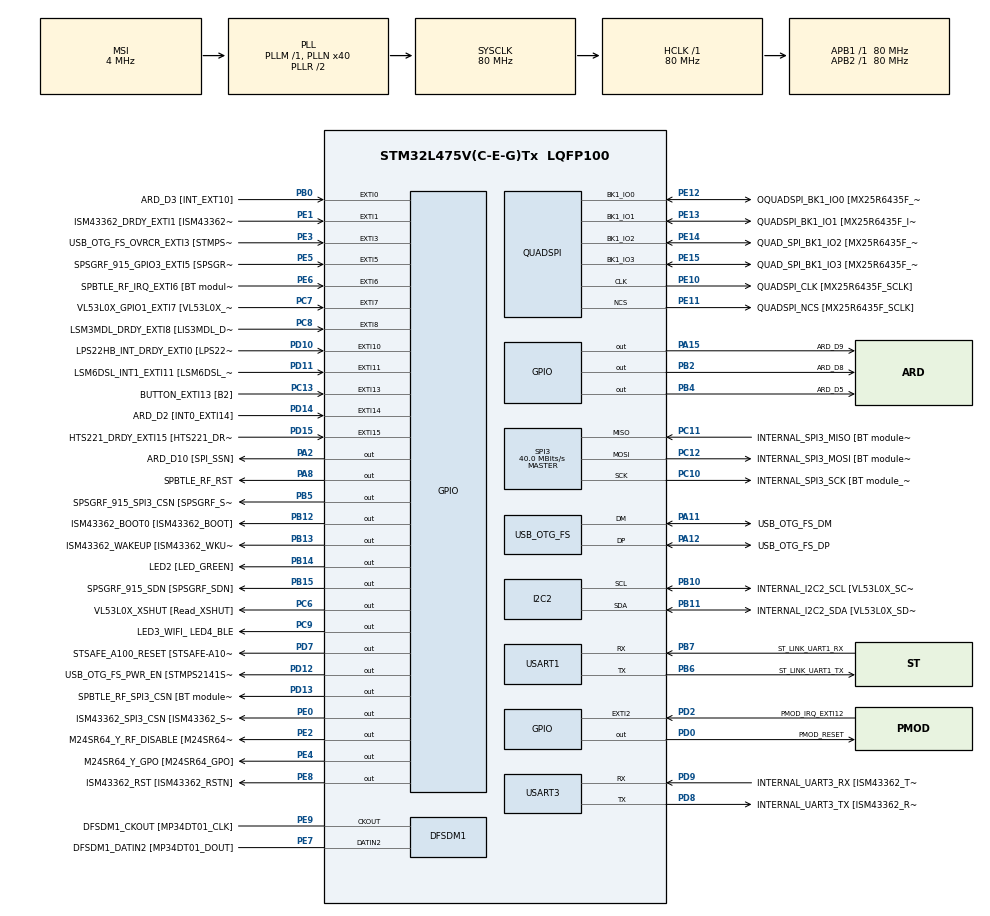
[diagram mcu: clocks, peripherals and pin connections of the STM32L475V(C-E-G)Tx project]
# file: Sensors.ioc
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FREERTOS.BinarySemaphores01=binSem01,Dynamic,NULL
FREERTOS.INCLUDE_vTaskDelayUntil=1
FREERTOS.Tasks01=temperatureTask,0,128,StartTempTask,Default,NULL,Dynamic,NULL,NULL;pressureTask,0,128,StartPressureTask,Default,NULL,Dynamic,NULL,NULL;eventTask,1,128,StartButtonTask,Default,NULL,Dynamic,NULL,NULL
FREERTOS.configUSE_NEWLIB_REENTRANT=1
I2C2.Timing=0x10909CEC
Mcu.Family=STM32L4
Mcu.Name=STM32L475V(C-E-G)Tx
Mcu.Package=LQFP100
NVIC.EXTI15_10_IRQn=true\:5\:0\:false\:false\:true\:true\:true\:true\:true
NVIC.EXTI9_5_IRQn=true\:5\:0\:false\:false\:true\:true\:true\:true\:true
NVIC.PriorityGroup=NVIC_PRIORITYGROUP_4
NVIC.TIM1_UP_TIM16_IRQn=true\:15\:0\:false\:false\:true\:false\:false\:true\:true
NVIC.TimeBase=TIM1_UP_TIM16_IRQn
NVIC.TimeBaseIP=TIM1
PA0.GPIO_Label=ARD_D1 [UART4_TX]
PA0.Signal=UART4_TX
PA1.GPIO_Label=ARD_D0 [UART4_RX]
PA1.Signal=UART4_RX
PA10.GPIO_Label=USB_OTG_FS_ID
PA10.Signal=USB_OTG_FS_ID
PA11.GPIO_Label=USB_OTG_FS_DM
PA11.Mode=Device_Only
PA11.Signal=USB_OTG_FS_DM
PA12.GPIO_Label=USB_OTG_FS_DP
PA12.Mode=Device_Only
PA12.Signal=USB_OTG_FS_DP
PA13\ (JTMS-SWDIO).GPIO_Label=SYS_JTMS_SWDIO
PA13\ (JTMS-SWDIO).Mode=Serial_Wire
PA13\ (JTMS-SWDIO).Signal=SYS_JTMS-SWDIO
PA14\ (JTCK-SWCLK).GPIO_Label=SYS_JTCK_SWCLK
PA14\ (JTCK-SWCLK).Mode=Serial_Wire
PA14\ (JTCK-SWCLK).Signal=SYS_JTCK-SWCLK
PA15\ (JTDI).GPIO_Label=ARD_D9
PA15\ (JTDI).Signal=GPIO_Output
PA2.GPIO_Label=ARD_D10 [SPI_SSN]
PA2.Signal=GPIO_Output
PA3.GPIO_Label=ARD_D4
PA3.Signal=S_TIM2_CH4
PA4.GPIO_Label=ARD_D7
PA4.Signal=ADCx_IN9
PA5.GPIO_Label=ARD_D13 [SPI1_SCK]
PA5.Signal=SPI1_SCK
PA6.GPIO_Label=ARD_D12 [SPI1_MISO]
PA6.Signal=SPI1_MISO
PA7.GPIO_Label=ARD_D11 [SPI1_MOSI]
PA7.Signal=SPI1_MOSI
PA8.GPIO_Label=SPBTLE_RF_RST
PA8.Signal=GPIO_Output
PA9.GPIO_Label=USB_OTG_FS_VBUS [STMPS2141STR_OUT]
PA9.Signal=USB_OTG_FS_VBUS
PB0.GPIO_Label=ARD_D3 [INT_EXT10]
PB0.Signal=GPXTI0
PB1.GPIO_Label=ARD_D6 [ADC1_IN6]
PB1.Signal=ADCx_IN16
PB10.GPIO_Label=INTERNAL_I2C2_SCL [VL53L0X_SCL]
PB10.GPIO_Pu=GPIO_PULLUP
PB10.Mode=I2C
PB10.Signal=I2C2_SCL
PB11.GPIO_Label=INTERNAL_I2C2_SDA [VL53L0X_SDA]
PB11.GPIO_Pu=GPIO_PULLUP
PB11.Mode=I2C
PB11.Signal=I2C2_SDA
PB12.GPIO_Label=ISM43362_BOOT0 [ISM43362_BOOT]
PB12.Signal=GPIO_Output
PB13.GPIO_Label=ISM43362_WAKEUP [ISM43362_WKUP]
PB13.Signal=GPIO_Output
PB14.GPIO_Label=LED2 [LED_GREEN]
PB14.Signal=GPIO_Output
PB15.GPIO_Label=SPSGRF_915_SDN [SPSGRF_SDN]
PB15.Signal=GPIO_Output
PB2.GPIO_Label=ARD_D8
PB2.Signal=GPIO_Output
PB3\ (JTDO-TRACESWO).GPIO_Label=SYS_JTD0_SWO
PB3\ (JTDO-TRACESWO).Signal=SYS_JTDO-SWO
PB4\ (NJTRST).GPIO_Label=ARD_D5
PB4\ (NJTRST).Signal=GPIO_Output
PB5.GPIO_Label=SPSGRF_915_SPI3_CSN [SPSGRF_SPI_CS]
PB5.PinState=GPIO_PIN_SET
PB5.Signal=GPIO_Output
PB6.GPIO_Label=ST_LINK_UART1_TX
PB6.Mode=Asynchronous
PB6.Signal=USART1_TX
PB7.GPIO_Label=ST_LINK_UART1_RX
PB7.Mode=Asynchronous
PB7.Signal=USART1_RX
PB8.GPIO_Label=ARD_D15 [I2C1_SCL]
PB8.Signal=I2C1_SCL
PB9.GPIO_Label=ARD_D14 [I2C1_SDA]
PB9.Signal=I2C1_SDA
PC0.GPIO_Label=ARD_A5 [ADC]
PC0.Signal=ADCx_IN1
PC1.GPIO_Label=ARD_A4 [ADC]
PC1.Signal=ADCx_IN2
PC10.GPIO_Label=INTERNAL_SPI3_SCK [BT module_SPI_SCLK] [ISM43362_SCK]
PC10.Mode=Full_Duplex_Master
PC10.Signal=SPI3_SCK
PC11.GPIO_Label=INTERNAL_SPI3_MISO [BT module_SPI_MISO] [ISM43362_MISO]
PC11.Mode=Full_Duplex_Master
PC11.Signal=SPI3_MISO
PC12.GPIO_Label=INTERNAL_SPI3_MOSI [BT module_SPI_MOSI] [ISM43362_MOSI]
PC12.Mode=Full_Duplex_Master
PC12.Signal=SPI3_MOSI
PC13.GPIO_Label=BUTTON_EXTI13 [B2]
PC13.GPIO_ModeDefaultEXTI=GPIO_MODE_IT_FALLING
PC13.Signal=GPXTI13
PC14-OSC32_IN\ (PC14).Mode=LSE-External-Oscillator
PC14-OSC32_IN\ (PC14).Signal=RCC_OSC32_IN
PC15-OSC32_OUT\ (PC15).Mode=LSE-External-Oscillator
PC15-OSC32_OUT\ (PC15).Signal=RCC_OSC32_OUT
PC2.GPIO_Label=ARD_A3 [ADC]
PC2.Signal=ADCx_IN3
PC3.GPIO_Label=ARD_A2 [ADC]
PC3.Signal=ADCx_IN4
PC4.GPIO_Label=ARD_A1 [ADC]
PC4.Signal=ADCx_IN13
PC5.GPIO_Label=ARD_A0 [ADC]
PC5.Signal=ADCx_IN14
PC6.GPIO_Label=VL53L0X_XSHUT [Read_XSHUT]
PC6.Signal=GPIO_Output
PC7.GPIO_Label=VL53L0X_GPIO1_EXTI7 [VL53L0X_GPIO1]
PC7.Signal=GPXTI7
PC8.GPIO_Label=LSM3MDL_DRDY_EXTI8 [LIS3MDL_DRDY]
PC8.Signal=GPXTI8
PC9.GPIO_Label=LED3_WIFI_ LED4_BLE
PC9.Signal=GPIO_Output
PD0.GPIO_Label=PMOD_RESET
PD0.Signal=GPIO_Output
PD1.GPIO_Label=PMOD_SPI2_SCK
PD1.Signal=SPI2_SCK
PD10.GPIO_Label=LPS22HB_INT_DRDY_EXTI0 [LPS22HB_INT_DRDY] 
PD10.Signal=GPXTI10
PD11.GPIO_Label=LSM6DSL_INT1_EXTI11 [LSM6DSL_INT1]
PD11.Signal=GPXTI11
PD12.GPIO_Label=USB_OTG_FS_PWR_EN [STMPS2141STR_EN]
PD12.Signal=GPIO_Output
PD13.GPIO_Label=SPBTLE_RF_SPI3_CSN [BT module_SPI_CS]
PD13.PinState=GPIO_PIN_SET
PD13.Signal=GPIO_Output
PD14.GPIO_Label=ARD_D2 [INT0_EXTI14]
PD14.Signal=GPXTI14
PD15.GPIO_Label=HTS221_DRDY_EXTI15 [HTS221_DRDY]
PD15.Signal=GPXTI15
PD2.GPIO_Label=PMOD_IRQ_EXTI12
PD2.Signal=GPXTI2
PD3.GPIO_Label=PMOD_UART2_CTS
PD3.Signal=USART2_CTS
PD4.GPIO_Label=PMOD_UART2_RTS
PD4.Signal=USART2_RTS
PD5.GPIO_Label=PMOD_UART2_TX
PD5.Signal=USART2_TX
PD6.GPIO_Label=PMOD_UART2_RX
PD6.Signal=USART2_RX
PD7.GPIO_Label=STSAFE_A100_RESET [STSAFE-A100_RESET]
PD7.Signal=GPIO_Output
PD8.GPIO_Label=INTERNAL_UART3_TX [ISM43362_RX]
PD8.Mode=Asynchronous
PD8.Signal=USART3_TX
PD9.GPIO_Label=INTERNAL_UART3_RX [ISM43362_TX]
PD9.Mode=Asynchronous
PD9.Signal=USART3_RX
PE0.GPIO_Label=ISM43362_SPI3_CSN [ISM43362_SSN]
PE0.PinState=GPIO_PIN_SET
PE0.Signal=GPIO_Output
PE1.GPIO_Label=ISM43362_DRDY_EXTI1 [ISM43362_DATARDY]
PE1.Signal=GPXTI1
PE10.GPIO_Label=QUADSPI_CLK [MX25R6435F_SCLK]
PE10.Mode=Single Bank
PE10.Signal=QUADSPI_CLK
PE11.GPIO_Label=QUADSPI_NCS [MX25R6435F_SCLK]
PE11.Mode=Single Bank
PE11.Signal=QUADSPI_NCS
PE12.GPIO_Label=OQUADSPI_BK1_IO0 [MX25R6435F_IO0]
PE12.Mode=Single Bank
PE12.Signal=QUADSPI_BK1_IO0
PE13.GPIO_Label=QUADSPI_BK1_IO1 [MX25R6435F_IO1]
PE13.Mode=Single Bank
PE13.Signal=QUADSPI_BK1_IO1
PE14.GPIO_Label=QUAD_SPI_BK1_IO2 [MX25R6435F_IO2]
PE14.Mode=Single Bank
PE14.Signal=QUADSPI_BK1_IO2
PE15.GPIO_Label=QUAD_SPI_BK1_IO3 [MX25R6435F_IO3]
PE15.Mode=Single Bank
PE15.Signal=QUADSPI_BK1_IO3
PE2.GPIO_Label=M24SR64_Y_RF_DISABLE [M24SR64_RFDIS]
PE2.Signal=GPIO_Output
PE3.GPIO_Label=USB_OTG_FS_OVRCR_EXTI3 [STMPS2141STR_FAULT]
PE3.Signal=GPXTI3
PE4.GPIO_Label=M24SR64_Y_GPO [M24SR64_GPO]
PE4.Signal=GPIO_Output
PE5.GPIO_Label=SPSGRF_915_GPIO3_EXTI5 [SPSGRF_GPIO_3]
PE5.Signal=GPXTI5
PE6.GPIO_Label=SPBTLE_RF_IRQ_EXTI6 [BT module_SPI_IRQ]
PE6.Signal=GPXTI6
PE7.GPIO_Label=DFSDM1_DATIN2 [MP34DT01_DOUT]
PE7.Signal=S_DATAIN2DFSDM1
PE8.GPIO_Label=ISM43362_RST [ISM43362_RSTN]
PE8.Signal=GPIO_Output
PE9.GPIO_Label=DFSDM1_CKOUT [MP34DT01_CLK]
PE9.Signal=S_CKOUTDFSDM1
ProjectManager.HeapSize=0x200
ProjectManager.StackSize=0x400
ProjectManager.TargetToolchain=STM32CubeIDE
QUADSPI.ClockPrescaler=2
QUADSPI.FifoThreshold=4
QUADSPI.FlashSize=23
QUADSPI.SampleShifting=QSPI_SAMPLE_SHIFTING_HALFCYCLE
RCC.ADCFreq_Value=48000000
RCC.AHBFreq_Value=80000000
RCC.APB1Freq_Value=80000000
RCC.APB1TimFreq_Value=80000000
RCC.APB2Freq_Value=80000000
RCC.APB2TimFreq_Value=80000000
RCC.CortexFreq_Value=80000000
RCC.HCLKFreq_Value=80000000
RCC.HSE_VALUE=8000000
RCC.HSI_VALUE=16000000
RCC.MSI_VALUE=4000000
RCC.PLLN=40
RCC.PLLSAI1N=24
RCC.SYSCLKFreq_VALUE=80000000
RCC.SYSCLKSource=RCC_SYSCLKSOURCE_PLLCLK
RCC.USBFreq_Value=48000000
RCC.VCOOutputFreq_Value=160000000
SH.ADCx_IN1.0=ADC1_IN1
SH.ADCx_IN13.0=ADC1_IN13
SH.ADCx_IN14.0=ADC1_IN14
SH.ADCx_IN16.0=ADC1_IN16
SH.ADCx_IN2.0=ADC1_IN2
SH.ADCx_IN3.0=ADC1_IN3
SH.ADCx_IN4.0=ADC1_IN4
SH.ADCx_IN9.0=ADC1_IN9
SH.S_CKOUTDFSDM1.0=DFSDM1_CKOUT,CKOUT
SH.S_CKOUTDFSDM1.1=DFSDM1_CKOUT,PDM_SPI_Input_from_ch12_and_Internal_Clock
SH.S_DATAIN2DFSDM1.0=DFSDM1_DATIN2,PDM_SPI_Input_from_ch12_and_Internal_Clock
SH.S_TIM2_CH4.0=TIM2_CH4
SPI3.CalculateBaudRate=40.0 MBits/s
SPI3.Direction=SPI_DIRECTION_2LINES
SPI3.Mode=SPI_MODE_MASTER
SPI3.VirtualType=VM_MASTER
USART1.VirtualMode-Asynchronous=VM_ASYNC
USART3.VirtualMode-Asynchronous=VM_ASYNC
USB_OTG_FS.VirtualMode=Device_Only
VP_FREERTOS_VS_CMSIS_V1.Mode=CMSIS_V1
VP_SYS_VS_tim1.Mode=TIM1
board=B-L475E-IOT01A2

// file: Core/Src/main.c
/* USER CODE BEGIN Header */
/**
  ******************************************************************************
  * @file           : main.c
  * @brief          : Main program body
  ******************************************************************************
  * @attention
  *
  * Copyright (c) 2023 STMicroelectronics.
  * All rights reserved.
  *
  * This software is licensed under terms that can be found in the LICENSE file
  * in the root directory of this software component.
  * If no LICENSE file comes with this software, it is provided AS-IS.
  *
  ******************************************************************************
  */
/* USER CODE END Header */
#include "main.h"
#include "cmsis_os.h"

/* USER CODE BEGIN Includes */

#include "stm32l475e_iot01.h"
#include "stm32l475e_iot01_tsensor.h"
#include "stm32l475e_iot01_psensor.h"
#include <math.h>
#include <stdio.h>

/* USER CODE END Includes */

DFSDM_Channel_HandleTypeDef hdfsdm1_channel1;

I2C_HandleTypeDef hi2c2;

QSPI_HandleTypeDef hqspi;

SPI_HandleTypeDef hspi3;

UART_HandleTypeDef huart1;
UART_HandleTypeDef huart3;

PCD_HandleTypeDef hpcd_USB_OTG_FS;

osThreadId temperatureTaskHandle;
osThreadId pressureTaskHandle;
osThreadId eventTaskHandle;
osSemaphoreId binSem01Handle;
/* USER CODE BEGIN PV */

float temp_value = 0;
int clicks = 0;
char str_tmp[100] = ""; // Formatted message to display the temperature value
uint8_t msg1[] = "****** Temperature values measurement ******\n\n\r";
uint8_t msg2[] = "======> Initialize Temperature sensor HTS221 \r\n";
uint8_t msg3[] = "======> Temperature sensor HTS221 initialized \r\n";

uint8_t msg12[] = "****** Pressure values measurement ******\n\n\r";
uint8_t msg22[] = "======> Initialize Pressure sensor LPS22HB \r\n";
uint8_t msg32[] = "======> Pressure sensor LPS22HB initialized \r\n";

/* USER CODE END PV */

void SystemClock_Config(void);
static void MX_GPIO_Init(void);
static void MX_DFSDM1_Init(void);
static void MX_I2C2_Init(void);
static void MX_QUADSPI_Init(void);
static void MX_SPI3_Init(void);
static void MX_USART1_UART_Init(void);
static void MX_USART3_UART_Init(void);
static void MX_USB_OTG_FS_PCD_Init(void);
void StartTempTask(void const * argument);
void StartPressureTask(void const * argument);
void StartButtonTask(void const * argument);

int main(void)
{

  /* MCU Configuration--------------------------------------------------------*/

  /* Reset of all peripherals, Initializes the Flash interface and the Systick. */
  HAL_Init();

  /* Configure the system clock */
  SystemClock_Config();

  /* Initialize all configured peripherals */
  MX_GPIO_Init();
  MX_DFSDM1_Init();
  MX_I2C2_Init();
  MX_QUADSPI_Init();
  MX_SPI3_Init();
  MX_USART1_UART_Init();
  MX_USART3_UART_Init();
  MX_USB_OTG_FS_PCD_Init();
  /* USER CODE BEGIN 2 */

  HAL_UART_Transmit(&huart1,msg1,sizeof(msg1),1000);
  HAL_UART_Transmit(&huart1,msg2,sizeof(msg2),1000);
  BSP_TSENSOR_Init();
  HAL_UART_Transmit(&huart1,msg3,sizeof(msg3),1000);

  HAL_UART_Transmit(&huart1,msg12,sizeof(msg1),1000);
  HAL_UART_Transmit(&huart1,msg22,sizeof(msg2),1000);
  BSP_PSENSOR_Init();
  HAL_UART_Transmit(&huart1,msg32,sizeof(msg3),1000);

  /* USER CODE END 2 */

  /* Create the semaphores(s) */
  /* definition and creation of binSem01 */
  osSemaphoreDef(binSem01);
  binSem01Handle = osSemaphoreCreate(osSemaphore(binSem01), 1);

  /* Create the thread(s) */
  /* definition and creation of temperatureTask */
  osThreadDef(temperatureTask, StartTempTask, osPriorityNormal, 0, 128);
  temperatureTaskHandle = osThreadCreate(osThread(temperatureTask), NULL);

  /* definition and creation of pressureTask */
  osThreadDef(pressureTask, StartPressureTask, osPriorityNormal, 0, 128);
  pressureTaskHandle = osThreadCreate(osThread(pressureTask), NULL);

  /* definition and creation of eventTask */
  osThreadDef(eventTask, StartButtonTask, osPriorityAboveNormal, 0, 128);
  eventTaskHandle = osThreadCreate(osThread(eventTask), NULL);

  /* Start scheduler */
  osKernelStart();

  /* We should never get here as control is now taken by the scheduler */
  /* Infinite loop */
  while (1)
  {

  }
}

void SystemClock_Config(void)
{
  RCC_OscInitTypeDef RCC_OscInitStruct = {0};
  RCC_ClkInitTypeDef RCC_ClkInitStruct = {0};

  /** Configure the main internal regulator output voltage
  */
  if (HAL_PWREx_ControlVoltageScaling(PWR_REGULATOR_VOLTAGE_SCALE1) != HAL_OK)
  {
    Error_Handler();
  }

  /** Configure LSE Drive Capability
  */
  HAL_PWR_EnableBkUpAccess();
  __HAL_RCC_LSEDRIVE_CONFIG(RCC_LSEDRIVE_LOW);

  /** Initializes the RCC Oscillators according to the specified parameters
  * in the RCC_OscInitTypeDef structure.
  */
  RCC_OscInitStruct.OscillatorType = RCC_OSCILLATORTYPE_LSE|RCC_OSCILLATORTYPE_MSI;
  RCC_OscInitStruct.LSEState = RCC_LSE_ON;
  RCC_OscInitStruct.MSIState = RCC_MSI_ON;
  RCC_OscInitStruct.MSICalibrationValue = 0;
  RCC_OscInitStruct.MSIClockRange = RCC_MSIRANGE_6;
  RCC_OscInitStruct.PLL.PLLState = RCC_PLL_ON;
  RCC_OscInitStruct.PLL.PLLSource = RCC_PLLSOURCE_MSI;
  RCC_OscInitStruct.PLL.PLLM = 1;
  RCC_OscInitStruct.PLL.PLLN = 40;
  RCC_OscInitStruct.PLL.PLLP = RCC_PLLP_DIV7;
  RCC_OscInitStruct.PLL.PLLQ = RCC_PLLQ_DIV2;
  RCC_OscInitStruct.PLL.PLLR = RCC_PLLR_DIV2;
  if (HAL_RCC_OscConfig(&RCC_OscInitStruct) != HAL_OK)
  {
    Error_Handler();
  }

  /** Initializes the CPU, AHB and APB buses clocks
  */
  RCC_ClkInitStruct.ClockType = RCC_CLOCKTYPE_HCLK|RCC_CLOCKTYPE_SYSCLK
                              |RCC_CLOCKTYPE_PCLK1|RCC_CLOCKTYPE_PCLK2;
  RCC_ClkInitStruct.SYSCLKSource = RCC_SYSCLKSOURCE_PLLCLK;
  RCC_ClkInitStruct.AHBCLKDivider = RCC_SYSCLK_DIV1;
  RCC_ClkInitStruct.APB1CLKDivider = RCC_HCLK_DIV1;
  RCC_ClkInitStruct.APB2CLKDivider = RCC_HCLK_DIV1;

  if (HAL_RCC_ClockConfig(&RCC_ClkInitStruct, FLASH_LATENCY_4) != HAL_OK)
  {
    Error_Handler();
  }

  /** Enable MSI Auto calibration
  */
  HAL_RCCEx_EnableMSIPLLMode();
}

static void MX_DFSDM1_Init(void)
{

  hdfsdm1_channel1.Instance = DFSDM1_Channel1;
  hdfsdm1_channel1.Init.OutputClock.Activation = ENABLE;
  hdfsdm1_channel1.Init.OutputClock.Selection = DFSDM_CHANNEL_OUTPUT_CLOCK_SYSTEM;
  hdfsdm1_channel1.Init.OutputClock.Divider = 2;
  hdfsdm1_channel1.Init.Input.Multiplexer = DFSDM_CHANNEL_EXTERNAL_INPUTS;
  hdfsdm1_channel1.Init.Input.DataPacking = DFSDM_CHANNEL_STANDARD_MODE;
  hdfsdm1_channel1.Init.Input.Pins = DFSDM_CHANNEL_FOLLOWING_CHANNEL_PINS;
  hdfsdm1_channel1.Init.SerialInterface.Type = DFSDM_CHANNEL_SPI_RISING;
  hdfsdm1_channel1.Init.SerialInterface.SpiClock = DFSDM_CHANNEL_SPI_CLOCK_INTERNAL;
  hdfsdm1_channel1.Init.Awd.FilterOrder = DFSDM_CHANNEL_FASTSINC_ORDER;
  hdfsdm1_channel1.Init.Awd.Oversampling = 1;
  hdfsdm1_channel1.Init.Offset = 0;
  hdfsdm1_channel1.Init.RightBitShift = 0x00;
  if (HAL_DFSDM_ChannelInit(&hdfsdm1_channel1) != HAL_OK)
  {
    Error_Handler();
  }

}

static void MX_I2C2_Init(void)
{

  hi2c2.Instance = I2C2;
  hi2c2.Init.Timing = 0x10909CEC;
  hi2c2.Init.OwnAddress1 = 0;
  hi2c2.Init.AddressingMode = I2C_ADDRESSINGMODE_7BIT;
  hi2c2.Init.DualAddressMode = I2C_DUALADDRESS_DISABLE;
  hi2c2.Init.OwnAddress2 = 0;
  hi2c2.Init.OwnAddress2Masks = I2C_OA2_NOMASK;
  hi2c2.Init.GeneralCallMode = I2C_GENERALCALL_DISABLE;
  hi2c2.Init.NoStretchMode = I2C_NOSTRETCH_DISABLE;
  if (HAL_I2C_Init(&hi2c2) != HAL_OK)
  {
    Error_Handler();
  }

  /** Configure Analogue filter
  */
  if (HAL_I2CEx_ConfigAnalogFilter(&hi2c2, I2C_ANALOGFILTER_ENABLE) != HAL_OK)
  {
    Error_Handler();
  }

  /** Configure Digital filter
  */
  if (HAL_I2CEx_ConfigDigitalFilter(&hi2c2, 0) != HAL_OK)
  {
    Error_Handler();
  }

}

static void MX_QUADSPI_Init(void)
{

  /* QUADSPI parameter configuration*/
  hqspi.Instance = QUADSPI;
  hqspi.Init.ClockPrescaler = 2;
  hqspi.Init.FifoThreshold = 4;
  hqspi.Init.SampleShifting = QSPI_SAMPLE_SHIFTING_HALFCYCLE;
  hqspi.Init.FlashSize = 23;
  hqspi.Init.ChipSelectHighTime = QSPI_CS_HIGH_TIME_1_CYCLE;
  hqspi.Init.ClockMode = QSPI_CLOCK_MODE_0;
  if (HAL_QSPI_Init(&hqspi) != HAL_OK)
  {
    Error_Handler();
  }

}

static void MX_SPI3_Init(void)
{

  /* SPI3 parameter configuration*/
  hspi3.Instance = SPI3;
  hspi3.Init.Mode = SPI_MODE_MASTER;
  hspi3.Init.Direction = SPI_DIRECTION_2LINES;
  hspi3.Init.DataSize = SPI_DATASIZE_4BIT;
  hspi3.Init.CLKPolarity = SPI_POLARITY_LOW;
  hspi3.Init.CLKPhase = SPI_PHASE_1EDGE;
  hspi3.Init.NSS = SPI_NSS_SOFT;
  hspi3.Init.BaudRatePrescaler = SPI_BAUDRATEPRESCALER_2;
  hspi3.Init.FirstBit = SPI_FIRSTBIT_MSB;
  hspi3.Init.TIMode = SPI_TIMODE_DISABLE;
  hspi3.Init.CRCCalculation = SPI_CRCCALCULATION_DISABLE;
  hspi3.Init.CRCPolynomial = 7;
  hspi3.Init.CRCLength = SPI_CRC_LENGTH_DATASIZE;
  hspi3.Init.NSSPMode = SPI_NSS_PULSE_ENABLE;
  if (HAL_SPI_Init(&hspi3) != HAL_OK)
  {
    Error_Handler();
  }

}

static void MX_USART1_UART_Init(void)
{

  huart1.Instance = USART1;
  huart1.Init.BaudRate = 115200;
  huart1.Init.WordLength = UART_WORDLENGTH_8B;
  huart1.Init.StopBits = UART_STOPBITS_1;
  huart1.Init.Parity = UART_PARITY_NONE;
  huart1.Init.Mode = UART_MODE_TX_RX;
  huart1.Init.HwFlowCtl = UART_HWCONTROL_NONE;
  huart1.Init.OverSampling = UART_OVERSAMPLING_16;
  huart1.Init.OneBitSampling = UART_ONE_BIT_SAMPLE_DISABLE;
  huart1.AdvancedInit.AdvFeatureInit = UART_ADVFEATURE_NO_INIT;
  if (HAL_UART_Init(&huart1) != HAL_OK)
  {
    Error_Handler();
  }

}

static void MX_USART3_UART_Init(void)
{

  huart3.Instance = USART3;
  huart3.Init.BaudRate = 115200;
  huart3.Init.WordLength = UART_WORDLENGTH_8B;
  huart3.Init.StopBits = UART_STOPBITS_1;
  huart3.Init.Parity = UART_PARITY_NONE;
  huart3.Init.Mode = UART_MODE_TX_RX;
  huart3.Init.HwFlowCtl = UART_HWCONTROL_NONE;
  huart3.Init.OverSampling = UART_OVERSAMPLING_16;
  huart3.Init.OneBitSampling = UART_ONE_BIT_SAMPLE_DISABLE;
  huart3.AdvancedInit.AdvFeatureInit = UART_ADVFEATURE_NO_INIT;
  if (HAL_UART_Init(&huart3) != HAL_OK)
  {
    Error_Handler();
  }

}

static void MX_USB_OTG_FS_PCD_Init(void)
{

  hpcd_USB_OTG_FS.Instance = USB_OTG_FS;
  hpcd_USB_OTG_FS.Init.dev_endpoints = 6;
  hpcd_USB_OTG_FS.Init.speed = PCD_SPEED_FULL;
  hpcd_USB_OTG_FS.Init.phy_itface = PCD_PHY_EMBEDDED;
  hpcd_USB_OTG_FS.Init.Sof_enable = DISABLE;
  hpcd_USB_OTG_FS.Init.low_power_enable = DISABLE;
  hpcd_USB_OTG_FS.Init.lpm_enable = DISABLE;
  hpcd_USB_OTG_FS.Init.battery_charging_enable = DISABLE;
  hpcd_USB_OTG_FS.Init.use_dedicated_ep1 = DISABLE;
  hpcd_USB_OTG_FS.Init.vbus_sensing_enable = DISABLE;
  if (HAL_PCD_Init(&hpcd_USB_OTG_FS) != HAL_OK)
  {
    Error_Handler();
  }

}

static void MX_GPIO_Init(void)
{
  GPIO_InitTypeDef GPIO_InitStruct = {0};

  /* GPIO Ports Clock Enable */
  __HAL_RCC_GPIOE_CLK_ENABLE();
  __HAL_RCC_GPIOC_CLK_ENABLE();
  __HAL_RCC_GPIOA_CLK_ENABLE();
  __HAL_RCC_GPIOB_CLK_ENABLE();
  __HAL_RCC_GPIOD_CLK_ENABLE();

  /*Configure GPIO pin Output Level */
  HAL_GPIO_WritePin(GPIOE, M24SR64_Y_RF_DISABLE_Pin|M24SR64_Y_GPO_Pin|ISM43362_RST_Pin, GPIO_PIN_RESET);

  /*Configure GPIO pin Output Level */
  HAL_GPIO_WritePin(GPIOA, ARD_D10_Pin|SPBTLE_RF_RST_Pin|ARD_D9_Pin, GPIO_PIN_RESET);

  /*Configure GPIO pin Output Level */
  HAL_GPIO_WritePin(GPIOB, ARD_D8_Pin|ISM43362_BOOT0_Pin|ISM43362_WAKEUP_Pin|LED2_Pin
                          |SPSGRF_915_SDN_Pin|ARD_D5_Pin, GPIO_PIN_RESET);

  /*Configure GPIO pin Output Level */
  HAL_GPIO_WritePin(GPIOD, USB_OTG_FS_PWR_EN_Pin|PMOD_RESET_Pin|STSAFE_A100_RESET_Pin, GPIO_PIN_RESET);

  /*Configure GPIO pin Output Level */
  HAL_GPIO_WritePin(SPBTLE_RF_SPI3_CSN_GPIO_Port, SPBTLE_RF_SPI3_CSN_Pin, GPIO_PIN_SET);

  /*Configure GPIO pin Output Level */
  HAL_GPIO_WritePin(GPIOC, VL53L0X_XSHUT_Pin|LED3_WIFI__LED4_BLE_Pin, GPIO_PIN_RESET);

  /*Configure GPIO pin Output Level */
  HAL_GPIO_WritePin(SPSGRF_915_SPI3_CSN_GPIO_Port, SPSGRF_915_SPI3_CSN_Pin, GPIO_PIN_SET);

  /*Configure GPIO pin Output Level */
  HAL_GPIO_WritePin(ISM43362_SPI3_CSN_GPIO_Port, ISM43362_SPI3_CSN_Pin, GPIO_PIN_SET);

  /*Configure GPIO pins : M24SR64_Y_RF_DISABLE_Pin M24SR64_Y_GPO_Pin ISM43362_RST_Pin ISM43362_SPI3_CSN_Pin */
  GPIO_InitStruct.Pin = M24SR64_Y_RF_DISABLE_Pin|M24SR64_Y_GPO_Pin|ISM43362_RST_Pin|ISM43362_SPI3_CSN_Pin;
  GPIO_InitStruct.Mode = GPIO_MODE_OUTPUT_PP;
  GPIO_InitStruct.Pull = GPIO_NOPULL;
  GPIO_InitStruct.Speed = GPIO_SPEED_FREQ_LOW;
  HAL_GPIO_Init(GPIOE, &GPIO_InitStruct);

  /*Configure GPIO pins : USB_OTG_FS_OVRCR_EXTI3_Pin SPSGRF_915_GPIO3_EXTI5_Pin SPBTLE_RF_IRQ_EXTI6_Pin ISM43362_DRDY_EXTI1_Pin */
  GPIO_InitStruct.Pin = USB_OTG_FS_OVRCR_EXTI3_Pin|SPSGRF_915_GPIO3_EXTI5_Pin|SPBTLE_RF_IRQ_EXTI6_Pin|ISM43362_DRDY_EXTI1_Pin;
  GPIO_InitStruct.Mode = GPIO_MODE_IT_RISING;
  GPIO_InitStruct.Pull = GPIO_NOPULL;
  HAL_GPIO_Init(GPIOE, &GPIO_InitStruct);

  /*Configure GPIO pin : BUTTON_EXTI13_Pin */
  // B2
  GPIO_InitStruct.Pin = BUTTON_EXTI13_Pin;
  GPIO_InitStruct.Mode = GPIO_MODE_IT_FALLING;
  GPIO_InitStruct.Pull = GPIO_NOPULL;
  HAL_GPIO_Init(BUTTON_EXTI13_GPIO_Port, &GPIO_InitStruct);

  /*Configure GPIO pins : ARD_A5_Pin ARD_A4_Pin ARD_A3_Pin ARD_A2_Pin
                           ARD_A1_Pin ARD_A0_Pin */
  GPIO_InitStruct.Pin = ARD_A5_Pin|ARD_A4_Pin|ARD_A3_Pin|ARD_A2_Pin
                          |ARD_A1_Pin|ARD_A0_Pin;
  GPIO_InitStruct.Mode = GPIO_MODE_ANALOG_ADC_CONTROL;
  GPIO_InitStruct.Pull = GPIO_NOPULL;
  HAL_GPIO_Init(GPIOC, &GPIO_InitStruct);

  /*Configure GPIO pins : ARD_D1_Pin ARD_D0_Pin */
  GPIO_InitStruct.Pin = ARD_D1_Pin|ARD_D0_Pin;
  GPIO_InitStruct.Mode = GPIO_MODE_AF_PP;
  GPIO_InitStruct.Pull = GPIO_NOPULL;
  GPIO_InitStruct.Speed = GPIO_SPEED_FREQ_VERY_HIGH;
  GPIO_InitStruct.Alternate = GPIO_AF8_UART4;
  HAL_GPIO_Init(GPIOA, &GPIO_InitStruct);

  /*Configure GPIO pins : ARD_D10_Pin SPBTLE_RF_RST_Pin ARD_D9_Pin */
  GPIO_InitStruct.Pin = ARD_D10_Pin|SPBTLE_RF_RST_Pin|ARD_D9_Pin;
  GPIO_InitStruct.Mode = GPIO_MODE_OUTPUT_PP;
  GPIO_InitStruct.Pull = GPIO_NOPULL;
  GPIO_InitStruct.Speed = GPIO_SPEED_FREQ_LOW;
  HAL_GPIO_Init(GPIOA, &GPIO_InitStruct);

  /*Configure GPIO pin : ARD_D4_Pin */
  GPIO_InitStruct.Pin = ARD_D4_Pin;
  GPIO_InitStruct.Mode = GPIO_MODE_AF_PP;
  GPIO_InitStruct.Pull = GPIO_NOPULL;
  GPIO_InitStruct.Speed = GPIO_SPEED_FREQ_LOW;
  GPIO_InitStruct.Alternate = GPIO_AF1_TIM2;
  HAL_GPIO_Init(ARD_D4_GPIO_Port, &GPIO_InitStruct);

  /*Configure GPIO pin : ARD_D7_Pin */
  GPIO_InitStruct.Pin = ARD_D7_Pin;
  GPIO_InitStruct.Mode = GPIO_MODE_ANALOG_ADC_CONTROL;
  GPIO_InitStruct.Pull = GPIO_NOPULL;
  HAL_GPIO_Init(ARD_D7_GPIO_Port, &GPIO_InitStruct);

  /*Configure GPIO pins : ARD_D13_Pin ARD_D12_Pin ARD_D11_Pin */
  GPIO_InitStruct.Pin = ARD_D13_Pin|ARD_D12_Pin|ARD_D11_Pin;
  GPIO_InitStruct.Mode = GPIO_MODE_AF_PP;
  GPIO_InitStruct.Pull = GPIO_NOPULL;
  GPIO_InitStruct.Speed = GPIO_SPEED_FREQ_VERY_HIGH;
  GPIO_InitStruct.Alternate = GPIO_AF5_SPI1;
  HAL_GPIO_Init(GPIOA, &GPIO_InitStruct);

  /*Configure GPIO pin : ARD_D3_Pin */
  GPIO_InitStruct.Pin = ARD_D3_Pin;
  GPIO_InitStruct.Mode = GPIO_MODE_IT_RISING;
  GPIO_InitStruct.Pull = GPIO_NOPULL;
  HAL_GPIO_Init(ARD_D3_GPIO_Port, &GPIO_InitStruct);

  /*Configure GPIO pin : ARD_D6_Pin */
  GPIO_InitStruct.Pin = ARD_D6_Pin;
  GPIO_InitStruct.Mode = GPIO_MODE_ANALOG_ADC_CONTROL;
  GPIO_InitStruct.Pull = GPIO_NOPULL;
  HAL_GPIO_Init(ARD_D6_GPIO_Port, &GPIO_InitStruct);

  /*Configure GPIO pins : ARD_D8_Pin ISM43362_BOOT0_Pin ISM43362_WAKEUP_Pin LED2_Pin
                           SPSGRF_915_SDN_Pin ARD_D5_Pin SPSGRF_915_SPI3_CSN_Pin */
  GPIO_InitStruct.Pin = ARD_D8_Pin|ISM43362_BOOT0_Pin|ISM43362_WAKEUP_Pin|LED2_Pin
                          |SPSGRF_915_SDN_Pin|ARD_D5_Pin|SPSGRF_915_SPI3_CSN_Pin;
  GPIO_InitStruct.Mode = GPIO_MODE_OUTPUT_PP;
  GPIO_InitStruct.Pull = GPIO_NOPULL;
  GPIO_InitStruct.Speed = GPIO_SPEED_FREQ_LOW;
  HAL_GPIO_Init(GPIOB, &GPIO_InitStruct);

  /*Configure GPIO pins : LPS22HB_INT_DRDY_EXTI0_Pin LSM6DSL_INT1_EXTI11_Pin ARD_D2_Pin HTS221_DRDY_EXTI15_Pin
                           PMOD_IRQ_EXTI12_Pin */
  GPIO_InitStruct.Pin = LPS22HB_INT_DRDY_EXTI0_Pin|LSM6DSL_INT1_EXTI11_Pin|ARD_D2_Pin|HTS221_DRDY_EXTI15_Pin
                          |PMOD_IRQ_EXTI12_Pin;
  GPIO_InitStruct.Mode = GPIO_MODE_IT_RISING;
  GPIO_InitStruct.Pull = GPIO_NOPULL;
  HAL_GPIO_Init(GPIOD, &GPIO_InitStruct);

  /*Configure GPIO pins : USB_OTG_FS_PWR_EN_Pin SPBTLE_RF_SPI3_CSN_Pin PMOD_RESET_Pin STSAFE_A100_RESET_Pin */
  GPIO_InitStruct.Pin = USB_OTG_FS_PWR_EN_Pin|SPBTLE_RF_SPI3_CSN_Pin|PMOD_RESET_Pin|STSAFE_A100_RESET_Pin;
  GPIO_InitStruct.Mode = GPIO_MODE_OUTPUT_PP;
  GPIO_InitStruct.Pull = GPIO_NOPULL;
  GPIO_InitStruct.Speed = GPIO_SPEED_FREQ_LOW;
  HAL_GPIO_Init(GPIOD, &GPIO_InitStruct);

  /*Configure GPIO pins : VL53L0X_XSHUT_Pin LED3_WIFI__LED4_BLE_Pin */
  GPIO_InitStruct.Pin = VL53L0X_XSHUT_Pin|LED3_WIFI__LED4_BLE_Pin;
  GPIO_InitStruct.Mode = GPIO_MODE_OUTPUT_PP;
  GPIO_InitStruct.Pull = GPIO_NOPULL;
  GPIO_InitStruct.Speed = GPIO_SPEED_FREQ_LOW;
  HAL_GPIO_Init(GPIOC, &GPIO_InitStruct);

  /*Configure GPIO pins : VL53L0X_GPIO1_EXTI7_Pin LSM3MDL_DRDY_EXTI8_Pin */
  GPIO_InitStruct.Pin = VL53L0X_GPIO1_EXTI7_Pin|LSM3MDL_DRDY_EXTI8_Pin;
  GPIO_InitStruct.Mode = GPIO_MODE_IT_RISING;
  GPIO_InitStruct.Pull = GPIO_NOPULL;
  HAL_GPIO_Init(GPIOC, &GPIO_InitStruct);

  /*Configure GPIO pin : PMOD_SPI2_SCK_Pin */
  GPIO_InitStruct.Pin = PMOD_SPI2_SCK_Pin;
  GPIO_InitStruct.Mode = GPIO_MODE_AF_PP;
  GPIO_InitStruct.Pull = GPIO_NOPULL;
  GPIO_InitStruct.Speed = GPIO_SPEED_FREQ_VERY_HIGH;
  GPIO_InitStruct.Alternate = GPIO_AF5_SPI2;
  HAL_GPIO_Init(PMOD_SPI2_SCK_GPIO_Port, &GPIO_InitStruct);

  /*Configure GPIO pins : PMOD_UART2_CTS_Pin PMOD_UART2_RTS_Pin PMOD_UART2_TX_Pin PMOD_UART2_RX_Pin */
  GPIO_InitStruct.Pin = PMOD_UART2_CTS_Pin|PMOD_UART2_RTS_Pin|PMOD_UART2_TX_Pin|PMOD_UART2_RX_Pin;
  GPIO_InitStruct.Mode = GPIO_MODE_AF_PP;
  GPIO_InitStruct.Pull = GPIO_NOPULL;
  GPIO_InitStruct.Speed = GPIO_SPEED_FREQ_VERY_HIGH;
  GPIO_InitStruct.Alternate = GPIO_AF7_USART2;
  HAL_GPIO_Init(GPIOD, &GPIO_InitStruct);

  /*Configure GPIO pins : ARD_D15_Pin ARD_D14_Pin */
  GPIO_InitStruct.Pin = ARD_D15_Pin|ARD_D14_Pin;
  GPIO_InitStruct.Mode = GPIO_MODE_AF_OD;
  GPIO_InitStruct.Pull = GPIO_NOPULL;
  GPIO_InitStruct.Speed = GPIO_SPEED_FREQ_VERY_HIGH;
  GPIO_InitStruct.Alternate = GPIO_AF4_I2C1;
  HAL_GPIO_Init(GPIOB, &GPIO_InitStruct);

  /* EXTI interrupt init*/
  HAL_NVIC_SetPriority(EXTI9_5_IRQn, 5, 0);
  HAL_NVIC_EnableIRQ(EXTI9_5_IRQn);

  HAL_NVIC_SetPriority(EXTI15_10_IRQn, 5, 0);
  HAL_NVIC_EnableIRQ(EXTI15_10_IRQn);

}

void StartTempTask(void const * argument)
{
  /* USER CODE BEGIN 5 */
//	binSem01 = xSemaphoreCreateBinary();
  /* Infinite loop */
  for(;;)
  {
	  /* read the temperature value,
	   * format it, and then display
	   *  the message with the measured
	   *  value on the terminal: */
	  if( clicks % 2 == 1){
		  osSemaphoreWait(binSem01Handle, osWaitForever);

	  	  temp_value = BSP_TSENSOR_ReadTemp();
	  	  int tmpInt1 = temp_value;
	  	  float tmpFrac = temp_value - tmpInt1;
	  	  int tmpInt2 = trunc(tmpFrac * 100);
	  	  snprintf(str_tmp,100," TEMPERATURE = %d.%02d\n\r", tmpInt1, tmpInt2);
	  	  HAL_UART_Transmit(&huart1,( uint8_t * )str_tmp,sizeof(str_tmp),1000);

	  	  osSemaphoreRelease(binSem01Handle);
	  	  osDelay(1000);
	  }
  }
  /* USER CODE END 5 */
}

void StartPressureTask(void const * argument)
{
  /* USER CODE BEGIN StartPressureTask */
  /* Infinite loop */

  for(;;)
  {
	  if( clicks % 2 == 1){
		  osSemaphoreWait(binSem01Handle, osWaitForever);

		  temp_value = BSP_PSENSOR_ReadPressure();
		  int pInt1 = temp_value;
		  float pFrac = temp_value - pInt1;
		  int pInt2 = trunc(pFrac * 100);
		  snprintf(str_tmp,100," PRESSURE = %d.%02d\n\r", pInt1, pInt2);
		  HAL_UART_Transmit(&huart1,( uint8_t * )str_tmp,sizeof(str_tmp),1000);

	  	  osSemaphoreRelease(binSem01Handle);
	  	  osDelay(2000);
	  }

  }
  /* USER CODE END StartPressureTask */
}

void StartButtonTask(void const * argument)
{
  /* USER CODE BEGIN StartButtonTask */
//	binSem01 = xSemaphoreCreateBinary();
  /* Infinite loop */
  for(;;)
  {
	  // BUTTON_EXTI13_Pin
	  osDelay(100);
	  if(HAL_GPIO_ReadPin(GPIOC,BUTTON_EXTI13_Pin) == 0){
		  clicks += 1;
	  }
  }
  /* USER CODE END StartButtonTask */
}

/**
  * @brief  Period elapsed callback in non blocking mode
  * @note   This function is called  when TIM1 interrupt took place, inside
  * HAL_TIM_IRQHandler(). It makes a direct call to HAL_IncTick() to increment
  * a global variable "uwTick" used as application time base.
  * @param  htim : TIM handle
  * @retval None
  **/
void HAL_TIM_PeriodElapsedCallback(TIM_HandleTypeDef *htim)
{
  if (htim->Instance == TIM1) {
    HAL_IncTick();
  }
}

void Error_Handler(void)
{
  __disable_irq();
  while (1)
  {
  }
}
